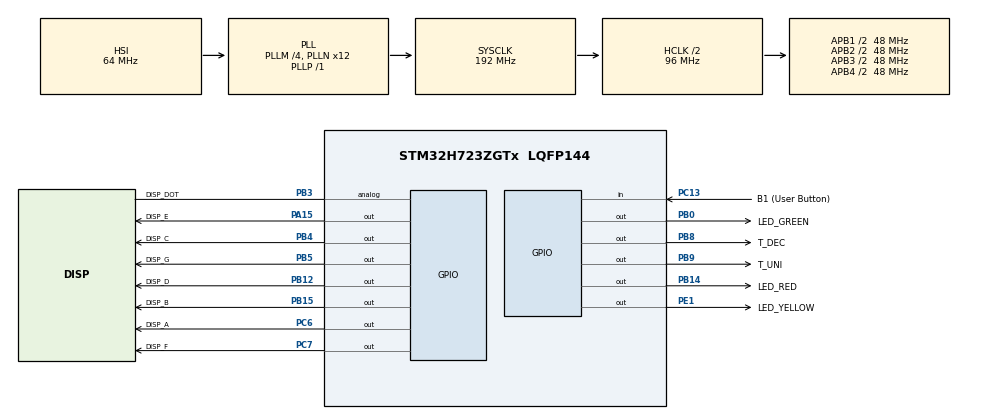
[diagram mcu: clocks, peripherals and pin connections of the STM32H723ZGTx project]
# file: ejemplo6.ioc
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CORTEX_M7.default_mode_Activation=1
Mcu.Family=STM32H7
Mcu.Name=STM32H723ZGTx
Mcu.Package=LQFP144
NVIC.PriorityGroup=NVIC_PRIORITYGROUP_4
PA13(JTMS/SWDIO).GPIO_Label=SWDIO
PA13(JTMS/SWDIO).Signal=DEBUG_JTMS-SWDIO
PA14(JTCK/SWCLK).GPIO_Label=SWCLK
PA14(JTCK/SWCLK).Signal=DEBUG_JTCK-SWCLK
PA15(JTDI).GPIO_Label=DISP_E
PA15(JTDI).Signal=GPIO_Output
PB0.GPIO_Label=LED_GREEN
PB0.Signal=GPIO_Output
PB12.GPIO_Label=DISP_D
PB12.Signal=GPIO_Output
PB14.GPIO_Label=LED_RED
PB14.Signal=GPIO_Output
PB15.GPIO_Label=DISP_B
PB15.Signal=GPIO_Output
PB3(JTDO/TRACESWO).GPIO_Label=DISP_DOT
PB3(JTDO/TRACESWO).Signal=GPIO_Analog
PB4(NJTRST).GPIO_Label=DISP_C
PB4(NJTRST).Signal=GPIO_Output
PB5.GPIO_Label=DISP_G
PB5.Signal=GPIO_Output
PB8.GPIO_Label=T_DEC
PB8.Signal=GPIO_Output
PB9.GPIO_Label=T_UNI
PB9.Signal=GPIO_Output
PC13.GPIO_Label=B1 (User Button)
PC13.Signal=GPIO_Input
PC14-OSC32_IN.Signal=RCC_OSC32_IN
PC15-OSC32_OUT.Signal=RCC_OSC32_OUT
PC6.GPIO_Label=DISP_A
PC6.Signal=GPIO_Output
PC7.GPIO_Label=DISP_F
PC7.Signal=GPIO_Output
PD8.GPIO_Label=STLK_VCP_RX
PD8.Signal=USART3_TX
PD9.GPIO_Label=STLK_VCP_TX
PD9.Signal=USART3_RX
PE1.GPIO_Label=LED_YELLOW
PE1.Signal=GPIO_Output
ProjectManager.HeapSize=0x200
ProjectManager.StackSize=0x400
ProjectManager.TargetToolchain=STM32CubeIDE
RCC.ADCFreq_Value=608000000
RCC.APB1Freq_Value=48000000
RCC.APB2Freq_Value=48000000
RCC.APB3Freq_Value=48000000
RCC.APB4Freq_Value=48000000
RCC.CortexFreq_Value=192000000
RCC.D1PPRE=RCC_APB3_DIV2
RCC.D2PPRE1=RCC_APB1_DIV2
RCC.D2PPRE2=RCC_APB2_DIV2
RCC.D3PPRE=RCC_APB4_DIV2
RCC.DIVM1=4
RCC.DIVM2=1
RCC.DIVN1=12
RCC.DIVN2=19
RCC.DIVP1=1
RCC.DIVQ1=4
RCC.HCLKFreq_Value=96000000
RCC.HPRE=RCC_HCLK_DIV2
RCC.HSE_VALUE=8000000
RCC.PLLFRACN=0
RCC.SYSCLKFreq_VALUE=192000000
RCC.SYSCLKSource=RCC_SYSCLKSOURCE_PLLCLK
RCC.USBCLockSelection=RCC_USBCLKSOURCE_HSI48
RCC.USBFreq_Value=48000000
VP_MEMORYMAP_VS_MEMORYMAP.Mode=CurAppReg
board=NUCLEO-H723ZG

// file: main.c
/* USER CODE BEGIN Header */
/**
  ******************************************************************************
  * @file           : main.c
  * @brief          : Main program body
  ******************************************************************************
  * @attention
  *
  * Copyright (c) 2025 STMicroelectronics.
  * All rights reserved.
  *
  * This software is licensed under terms that can be found in the LICENSE file
  * in the root directory of this software component.
  * If no LICENSE file comes with this software, it is provided AS-IS.
  *
  ******************************************************************************
  */
/* USER CODE END Header */
#include "main.h"

void SystemClock_Config(void);
static void MPU_Config(void);
static void MX_GPIO_Init(void);
/* USER CODE BEGIN PFP */
void num2disp(uint8_t num)
{
	switch(num)
	{
	case 0:
		HAL_GPIO_WritePin(DISP_A_GPIO_Port, DISP_A_Pin, 1);
		HAL_GPIO_WritePin(DISP_B_GPIO_Port, DISP_B_Pin, 1);
		HAL_GPIO_WritePin(DISP_C_GPIO_Port, DISP_C_Pin, 1);
		HAL_GPIO_WritePin(DISP_D_GPIO_Port, DISP_D_Pin, 1);
		HAL_GPIO_WritePin(DISP_E_GPIO_Port, DISP_E_Pin, 1);
		HAL_GPIO_WritePin(DISP_F_GPIO_Port, DISP_F_Pin, 1);
		HAL_GPIO_WritePin(DISP_G_GPIO_Port, DISP_G_Pin, 0);
		break;
	case 1:
		HAL_GPIO_WritePin(DISP_A_GPIO_Port, DISP_A_Pin, 0);
		HAL_GPIO_WritePin(DISP_B_GPIO_Port, DISP_B_Pin, 1);
		HAL_GPIO_WritePin(DISP_C_GPIO_Port, DISP_C_Pin, 1);
		HAL_GPIO_WritePin(DISP_D_GPIO_Port, DISP_D_Pin, 0);
		HAL_GPIO_WritePin(DISP_E_GPIO_Port, DISP_E_Pin, 0);
		HAL_GPIO_WritePin(DISP_F_GPIO_Port, DISP_F_Pin, 0);
		HAL_GPIO_WritePin(DISP_G_GPIO_Port, DISP_G_Pin, 0);
		break;
	case 2:
		HAL_GPIO_WritePin(DISP_A_GPIO_Port, DISP_A_Pin, 1);
		HAL_GPIO_WritePin(DISP_B_GPIO_Port, DISP_B_Pin, 1);
		HAL_GPIO_WritePin(DISP_C_GPIO_Port, DISP_C_Pin, 0);
		HAL_GPIO_WritePin(DISP_D_GPIO_Port, DISP_D_Pin, 1);
		HAL_GPIO_WritePin(DISP_E_GPIO_Port, DISP_E_Pin, 1);
		HAL_GPIO_WritePin(DISP_F_GPIO_Port, DISP_F_Pin, 0);
		HAL_GPIO_WritePin(DISP_G_GPIO_Port, DISP_G_Pin, 1);
		break;
	case 3:
		HAL_GPIO_WritePin(DISP_A_GPIO_Port, DISP_A_Pin, 1);
		HAL_GPIO_WritePin(DISP_B_GPIO_Port, DISP_B_Pin, 1);
		HAL_GPIO_WritePin(DISP_C_GPIO_Port, DISP_C_Pin, 1);
		HAL_GPIO_WritePin(DISP_D_GPIO_Port, DISP_D_Pin, 1);
		HAL_GPIO_WritePin(DISP_E_GPIO_Port, DISP_E_Pin, 0);
		HAL_GPIO_WritePin(DISP_F_GPIO_Port, DISP_F_Pin, 0);
		HAL_GPIO_WritePin(DISP_G_GPIO_Port, DISP_G_Pin, 1);
		break;
	case 4:
		HAL_GPIO_WritePin(DISP_A_GPIO_Port, DISP_A_Pin, 0);
		HAL_GPIO_WritePin(DISP_B_GPIO_Port, DISP_B_Pin, 1);
		HAL_GPIO_WritePin(DISP_C_GPIO_Port, DISP_C_Pin, 1);
		HAL_GPIO_WritePin(DISP_D_GPIO_Port, DISP_D_Pin, 0);
		HAL_GPIO_WritePin(DISP_E_GPIO_Port, DISP_E_Pin, 0);
		HAL_GPIO_WritePin(DISP_F_GPIO_Port, DISP_F_Pin, 1);
		HAL_GPIO_WritePin(DISP_G_GPIO_Port, DISP_G_Pin, 1);
		break;
	case 5:
		HAL_GPIO_WritePin(DISP_A_GPIO_Port, DISP_A_Pin, 1);
		HAL_GPIO_WritePin(DISP_B_GPIO_Port, DISP_B_Pin, 0);
		HAL_GPIO_WritePin(DISP_C_GPIO_Port, DISP_C_Pin, 1);
		HAL_GPIO_WritePin(DISP_D_GPIO_Port, DISP_D_Pin, 1);
		HAL_GPIO_WritePin(DISP_E_GPIO_Port, DISP_E_Pin, 0);
		HAL_GPIO_WritePin(DISP_F_GPIO_Port, DISP_F_Pin, 1);
		HAL_GPIO_WritePin(DISP_G_GPIO_Port, DISP_G_Pin, 1);
		break;
	case 6:
		HAL_GPIO_WritePin(DISP_A_GPIO_Port, DISP_A_Pin, 1);
		HAL_GPIO_WritePin(DISP_B_GPIO_Port, DISP_B_Pin, 0);
		HAL_GPIO_WritePin(DISP_C_GPIO_Port, DISP_C_Pin, 1);
		HAL_GPIO_WritePin(DISP_D_GPIO_Port, DISP_D_Pin, 1);
		HAL_GPIO_WritePin(DISP_E_GPIO_Port, DISP_E_Pin, 1);
		HAL_GPIO_WritePin(DISP_F_GPIO_Port, DISP_F_Pin, 1);
		HAL_GPIO_WritePin(DISP_G_GPIO_Port, DISP_G_Pin, 1);
		break;
	case 7:
		HAL_GPIO_WritePin(DISP_A_GPIO_Port, DISP_A_Pin, 1);
		HAL_GPIO_WritePin(DISP_B_GPIO_Port, DISP_B_Pin, 1);
		HAL_GPIO_WritePin(DISP_C_GPIO_Port, DISP_C_Pin, 1);
		HAL_GPIO_WritePin(DISP_D_GPIO_Port, DISP_D_Pin, 0);
		HAL_GPIO_WritePin(DISP_E_GPIO_Port, DISP_E_Pin, 0);
		HAL_GPIO_WritePin(DISP_F_GPIO_Port, DISP_F_Pin, 0);
		HAL_GPIO_WritePin(DISP_G_GPIO_Port, DISP_G_Pin, 0);
		break;
	case 8:
		HAL_GPIO_WritePin(DISP_A_GPIO_Port, DISP_A_Pin, 1);
		HAL_GPIO_WritePin(DISP_B_GPIO_Port, DISP_B_Pin, 1);
		HAL_GPIO_WritePin(DISP_C_GPIO_Port, DISP_C_Pin, 1);
		HAL_GPIO_WritePin(DISP_D_GPIO_Port, DISP_D_Pin, 1);
		HAL_GPIO_WritePin(DISP_E_GPIO_Port, DISP_E_Pin, 1);
		HAL_GPIO_WritePin(DISP_F_GPIO_Port, DISP_F_Pin, 1);
		HAL_GPIO_WritePin(DISP_G_GPIO_Port, DISP_G_Pin, 1);
		break;
	case 9:
		HAL_GPIO_WritePin(DISP_A_GPIO_Port, DISP_A_Pin, 1);
		HAL_GPIO_WritePin(DISP_B_GPIO_Port, DISP_B_Pin, 1);
		HAL_GPIO_WritePin(DISP_C_GPIO_Port, DISP_C_Pin, 1);
		HAL_GPIO_WritePin(DISP_D_GPIO_Port, DISP_D_Pin, 0);
		HAL_GPIO_WritePin(DISP_E_GPIO_Port, DISP_E_Pin, 0);
		HAL_GPIO_WritePin(DISP_F_GPIO_Port, DISP_F_Pin, 1);
		HAL_GPIO_WritePin(DISP_G_GPIO_Port, DISP_G_Pin, 1);
		break;
	}
}
/* USER CODE END PFP */

int main(void)
{

  /* MPU Configuration--------------------------------------------------------*/
  MPU_Config();

  /* MCU Configuration--------------------------------------------------------*/

  /* Reset of all peripherals, Initializes the Flash interface and the Systick. */
  HAL_Init();

  /* Configure the system clock */
  SystemClock_Config();

  /* Initialize all configured peripherals */
  MX_GPIO_Init();
  /* USER CODE BEGIN 2 */
  uint32_t time = 0, counter_time = 0, sweep_time = 0;
  uint8_t counter = 0, t_act = 0;
  /* USER CODE END 2 */

  /* Infinite loop */
  /* USER CODE BEGIN WHILE */
  while (1)
  {
	  time = HAL_GetTick();
	  if(time - counter_time>1000){
		  counter = (counter + 1)%100;
		  counter_time = time;
	  }

	  if(time - sweep_time >= 5){
		  switch(t_act)
		  {
		  case 0:
			  HAL_GPIO_WritePin(T_DEC_GPIO_Port, T_DEC_Pin, 1);
			  HAL_GPIO_WritePin(T_UNI_GPIO_Port, T_UNI_Pin, 0);
			  num2disp(counter/10);
			  t_act = 1;
			  break;
		  case 1:
			  HAL_GPIO_WritePin(T_DEC_GPIO_Port, T_DEC_Pin, 0);
			  HAL_GPIO_WritePin(T_UNI_GPIO_Port, T_UNI_Pin, 1);
			  num2disp(counter%10);
			  t_act = 0;
			  break;
		  }
		  sweep_time = time;
	  }

    /* USER CODE END WHILE */

  }
}

void SystemClock_Config(void)
{
  RCC_OscInitTypeDef RCC_OscInitStruct = {0};
  RCC_ClkInitTypeDef RCC_ClkInitStruct = {0};

  /** Supply configuration update enable
  */
  HAL_PWREx_ConfigSupply(PWR_LDO_SUPPLY);

  /** Configure the main internal regulator output voltage
  */
  __HAL_PWR_VOLTAGESCALING_CONFIG(PWR_REGULATOR_VOLTAGE_SCALE2);

  while(!__HAL_PWR_GET_FLAG(PWR_FLAG_VOSRDY)) {}

  /** Initializes the RCC Oscillators according to the specified parameters
  * in the RCC_OscInitTypeDef structure.
  */
  RCC_OscInitStruct.OscillatorType = RCC_OSCILLATORTYPE_HSI;
  RCC_OscInitStruct.HSIState = RCC_HSI_DIV1;
  RCC_OscInitStruct.HSICalibrationValue = 64;
  RCC_OscInitStruct.PLL.PLLState = RCC_PLL_ON;
  RCC_OscInitStruct.PLL.PLLSource = RCC_PLLSOURCE_HSI;
  RCC_OscInitStruct.PLL.PLLM = 4;
  RCC_OscInitStruct.PLL.PLLN = 12;
  RCC_OscInitStruct.PLL.PLLP = 1;
  RCC_OscInitStruct.PLL.PLLQ = 4;
  RCC_OscInitStruct.PLL.PLLR = 2;
  RCC_OscInitStruct.PLL.PLLRGE = RCC_PLL1VCIRANGE_3;
  RCC_OscInitStruct.PLL.PLLVCOSEL = RCC_PLL1VCOWIDE;
  RCC_OscInitStruct.PLL.PLLFRACN = 0;
  if (HAL_RCC_OscConfig(&RCC_OscInitStruct) != HAL_OK)
  {
    Error_Handler();
  }

  /** Initializes the CPU, AHB and APB buses clocks
  */
  RCC_ClkInitStruct.ClockType = RCC_CLOCKTYPE_HCLK|RCC_CLOCKTYPE_SYSCLK
                              |RCC_CLOCKTYPE_PCLK1|RCC_CLOCKTYPE_PCLK2
                              |RCC_CLOCKTYPE_D3PCLK1|RCC_CLOCKTYPE_D1PCLK1;
  RCC_ClkInitStruct.SYSCLKSource = RCC_SYSCLKSOURCE_PLLCLK;
  RCC_ClkInitStruct.SYSCLKDivider = RCC_SYSCLK_DIV1;
  RCC_ClkInitStruct.AHBCLKDivider = RCC_HCLK_DIV2;
  RCC_ClkInitStruct.APB3CLKDivider = RCC_APB3_DIV2;
  RCC_ClkInitStruct.APB1CLKDivider = RCC_APB1_DIV2;
  RCC_ClkInitStruct.APB2CLKDivider = RCC_APB2_DIV2;
  RCC_ClkInitStruct.APB4CLKDivider = RCC_APB4_DIV2;

  if (HAL_RCC_ClockConfig(&RCC_ClkInitStruct, FLASH_LATENCY_1) != HAL_OK)
  {
    Error_Handler();
  }
}

static void MX_GPIO_Init(void)
{
  GPIO_InitTypeDef GPIO_InitStruct = {0};

  /* GPIO Ports Clock Enable */
  __HAL_RCC_GPIOC_CLK_ENABLE();
  __HAL_RCC_GPIOB_CLK_ENABLE();
  __HAL_RCC_GPIOD_CLK_ENABLE();
  __HAL_RCC_GPIOA_CLK_ENABLE();
  __HAL_RCC_GPIOE_CLK_ENABLE();

  /*Configure GPIO pin Output Level */
  HAL_GPIO_WritePin(GPIOB, LED_GREEN_Pin|DISP_D_Pin|LED_RED_Pin|DISP_B_Pin
                          |DISP_C_Pin|DISP_G_Pin|T_DEC_Pin|T_UNI_Pin, GPIO_PIN_RESET);

  /*Configure GPIO pin Output Level */
  HAL_GPIO_WritePin(GPIOC, DISP_A_Pin|DISP_F_Pin, GPIO_PIN_RESET);

  /*Configure GPIO pin Output Level */
  HAL_GPIO_WritePin(DISP_E_GPIO_Port, DISP_E_Pin, GPIO_PIN_RESET);

  /*Configure GPIO pin Output Level */
  HAL_GPIO_WritePin(LED_YELLOW_GPIO_Port, LED_YELLOW_Pin, GPIO_PIN_RESET);

  /*Configure GPIO pin : B1_Pin */
  GPIO_InitStruct.Pin = B1_Pin;
  GPIO_InitStruct.Mode = GPIO_MODE_INPUT;
  GPIO_InitStruct.Pull = GPIO_NOPULL;
  HAL_GPIO_Init(B1_GPIO_Port, &GPIO_InitStruct);

  /*Configure GPIO pins : LED_GREEN_Pin DISP_D_Pin LED_RED_Pin DISP_B_Pin
                           DISP_C_Pin DISP_G_Pin T_DEC_Pin T_UNI_Pin */
  GPIO_InitStruct.Pin = LED_GREEN_Pin|DISP_D_Pin|LED_RED_Pin|DISP_B_Pin
                          |DISP_C_Pin|DISP_G_Pin|T_DEC_Pin|T_UNI_Pin;
  GPIO_InitStruct.Mode = GPIO_MODE_OUTPUT_PP;
  GPIO_InitStruct.Pull = GPIO_NOPULL;
  GPIO_InitStruct.Speed = GPIO_SPEED_FREQ_LOW;
  HAL_GPIO_Init(GPIOB, &GPIO_InitStruct);

  /*Configure GPIO pins : STLK_VCP_RX_Pin STLK_VCP_TX_Pin */
  GPIO_InitStruct.Pin = STLK_VCP_RX_Pin|STLK_VCP_TX_Pin;
  GPIO_InitStruct.Mode = GPIO_MODE_AF_PP;
  GPIO_InitStruct.Pull = GPIO_NOPULL;
  GPIO_InitStruct.Speed = GPIO_SPEED_FREQ_LOW;
  GPIO_InitStruct.Alternate = GPIO_AF7_USART3;
  HAL_GPIO_Init(GPIOD, &GPIO_InitStruct);

  /*Configure GPIO pins : DISP_A_Pin DISP_F_Pin */
  GPIO_InitStruct.Pin = DISP_A_Pin|DISP_F_Pin;
  GPIO_InitStruct.Mode = GPIO_MODE_OUTPUT_PP;
  GPIO_InitStruct.Pull = GPIO_NOPULL;
  GPIO_InitStruct.Speed = GPIO_SPEED_FREQ_LOW;
  HAL_GPIO_Init(GPIOC, &GPIO_InitStruct);

  /*Configure GPIO pin : DISP_E_Pin */
  GPIO_InitStruct.Pin = DISP_E_Pin;
  GPIO_InitStruct.Mode = GPIO_MODE_OUTPUT_PP;
  GPIO_InitStruct.Pull = GPIO_NOPULL;
  GPIO_InitStruct.Speed = GPIO_SPEED_FREQ_LOW;
  HAL_GPIO_Init(DISP_E_GPIO_Port, &GPIO_InitStruct);

  /*Configure GPIO pin : DISP_DOT_Pin */
  GPIO_InitStruct.Pin = DISP_DOT_Pin;
  GPIO_InitStruct.Mode = GPIO_MODE_ANALOG;
  GPIO_InitStruct.Pull = GPIO_NOPULL;
  HAL_GPIO_Init(DISP_DOT_GPIO_Port, &GPIO_InitStruct);

  /*Configure GPIO pin : LED_YELLOW_Pin */
  GPIO_InitStruct.Pin = LED_YELLOW_Pin;
  GPIO_InitStruct.Mode = GPIO_MODE_OUTPUT_PP;
  GPIO_InitStruct.Pull = GPIO_NOPULL;
  GPIO_InitStruct.Speed = GPIO_SPEED_FREQ_LOW;
  HAL_GPIO_Init(LED_YELLOW_GPIO_Port, &GPIO_InitStruct);

}

 /* MPU Configuration */

void MPU_Config(void)
{
  MPU_Region_InitTypeDef MPU_InitStruct = {0};

  /* Disables the MPU */
  HAL_MPU_Disable();

  /** Initializes and configures the Region and the memory to be protected
  */
  MPU_InitStruct.Enable = MPU_REGION_ENABLE;
  MPU_InitStruct.Number = MPU_REGION_NUMBER0;
  MPU_InitStruct.BaseAddress = 0x0;
  MPU_InitStruct.Size = MPU_REGION_SIZE_4GB;
  MPU_InitStruct.SubRegionDisable = 0x87;
  MPU_InitStruct.TypeExtField = MPU_TEX_LEVEL0;
  MPU_InitStruct.AccessPermission = MPU_REGION_NO_ACCESS;
  MPU_InitStruct.DisableExec = MPU_INSTRUCTION_ACCESS_DISABLE;
  MPU_InitStruct.IsShareable = MPU_ACCESS_SHAREABLE;
  MPU_InitStruct.IsCacheable = MPU_ACCESS_NOT_CACHEABLE;
  MPU_InitStruct.IsBufferable = MPU_ACCESS_NOT_BUFFERABLE;

  HAL_MPU_ConfigRegion(&MPU_InitStruct);
  /* Enables the MPU */
  HAL_MPU_Enable(MPU_PRIVILEGED_DEFAULT);

}

void Error_Handler(void)
{
  __disable_irq();
  while (1)
  {
  }
}
